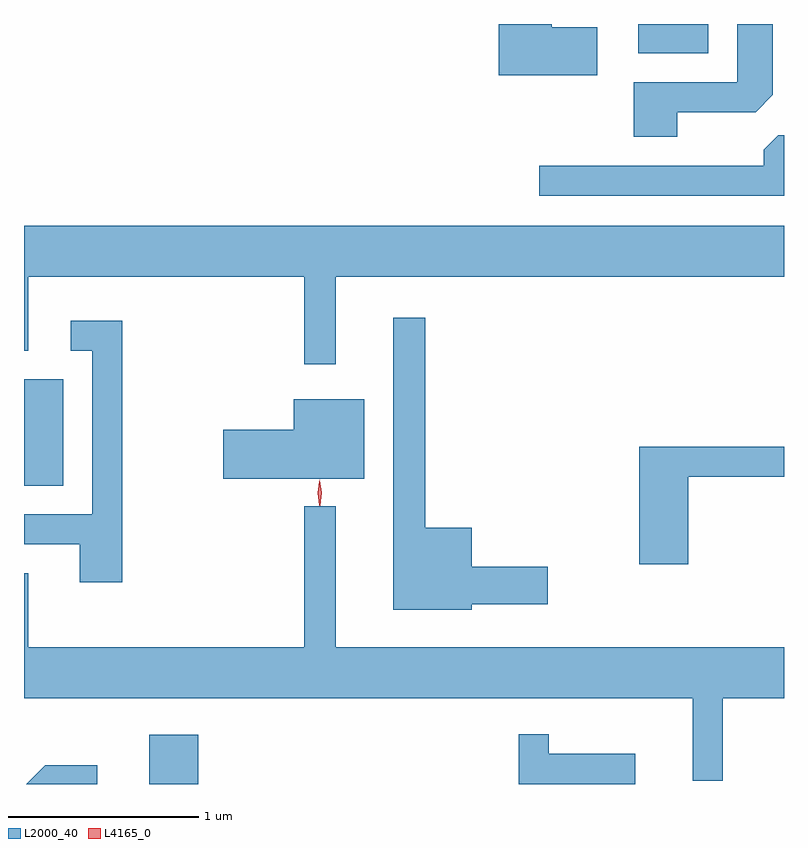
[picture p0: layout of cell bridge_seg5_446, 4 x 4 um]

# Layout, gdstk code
import gdstk
lib = gdstk.Library(unit=1e-6, precision=1e-09)
def R(c, l, rs):  # rectangles x0, y0, x1, y1
    for r in rs: c.add(gdstk.rectangle(r[:2], r[2:], *l))
def P(c, l, *ps):  # polygons
    for p in ps: c.add(gdstk.Polygon(p, *l))
L2000_40 = (2000, 40)
L4165_0 = (4165, 0)

bridge_seg5_446 = lib.new_cell('bridge_seg5_446')
R(bridge_seg5_446, L2000_40, [(509.796,1456.345,510.054,1456.604), (509.137,1457.916,509.344,1458.474), (512.371,1460.191,512.739,1460.345)])
P(bridge_seg5_446, L2000_40, [(512.574,1459.881),(512.989,1459.881),(513.079,1459.972),(513.079,1460.345),(512.891,1460.345),(512.891,1460.039),(512.346,1460.039),(512.346,1459.751),(512.574,1459.751)],
  [(512.154,1460.329),(511.914,1460.329),(511.914,1460.345),(511.636,1460.345),(511.636,1460.076),(512.154,1460.076)],
  [(513.137,1459.759),(513.107,1459.759),(513.031,1459.684),(513.031,1459.599),(511.848,1459.599),(511.848,1459.441),(513.137,1459.441)],
  [(510.779,1459.016),(513.137,1459.016),(513.137,1459.284),(509.137,1459.284),(509.137,1458.626),(509.159,1458.626),(509.159,1459.016),(510.611,1459.016),(510.611,1458.553),(510.779,1458.553)],
  [(511.494,1457.291),(511.894,1457.291),(511.894,1457.489),(511.494,1457.489),(511.494,1457.694),(511.249,1457.694),(511.249,1458.798),(511.081,1458.798),(511.081,1457.261),(511.494,1457.261)],
  [(509.654,1458.784),(509.383,1458.784),(509.383,1458.626),(509.496,1458.626),(509.496,1457.764),(509.137,1457.764),(509.137,1457.606),(509.431,1457.606),(509.431,1457.406),(509.654,1457.406)],
  [(510.929,1458.369),(510.556,1458.369),(510.556,1458.209),(510.186,1458.209),(510.186,1457.951),(510.929,1457.951)],
  [(512.634,1457.961),(513.137,1457.961),(513.137,1458.119),(512.376,1458.119),(512.376,1457.501),(512.634,1457.501)],
  [(512.814,1456.796),(513.137,1456.796),(513.137,1457.064),(510.779,1457.064),(510.779,1457.808),(510.611,1457.808),(510.611,1457.064),(509.159,1457.064),(509.159,1457.454),(509.137,1457.454),(509.137,1456.796),(512.656,1456.796),(512.656,1456.363),(512.814,1456.363)],
  [(512.354,1456.504),(511.899,1456.504),(511.899,1456.608),(511.741,1456.608),(511.741,1456.345),(512.354,1456.345)],
  [(509.523,1456.444),(509.249,1456.444),(509.15,1456.345),(509.523,1456.345)])
P(bridge_seg5_446, L4165_0, [(510.694,1457.81),(510.684,1457.878),(510.693,1457.945),(510.694,1457.946),(510.694,1457.945),(510.704,1457.878),(510.696,1457.81),(510.695,1457.81)],
  [(510.692,1457.813),(510.683,1457.876),(510.692,1457.939),(510.693,1457.94),(510.693,1457.939),(510.703,1457.876),(510.693,1457.813),(510.693,1457.813)])

lib.write_gds('bridge_seg5_446.gds')
